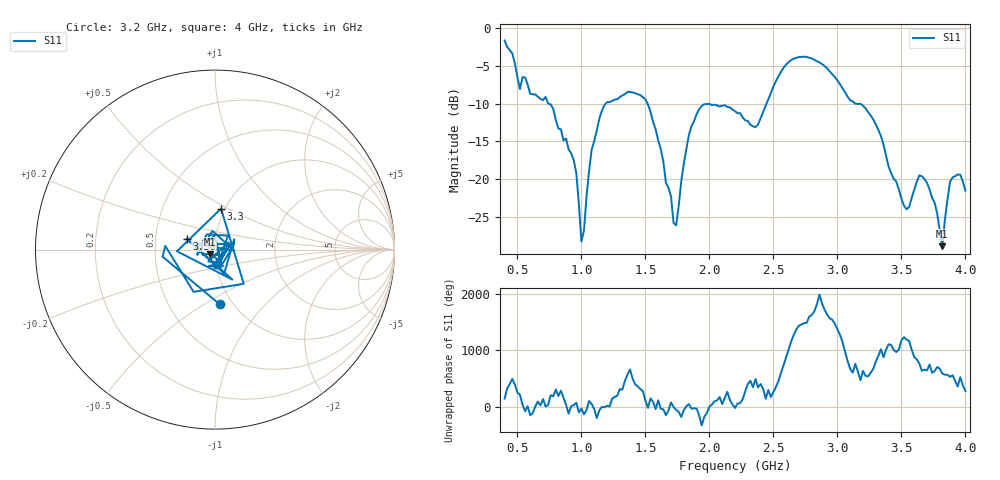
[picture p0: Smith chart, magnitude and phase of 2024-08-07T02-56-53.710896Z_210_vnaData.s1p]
!Created with skrf (http://scikit-rf.org).
# Hz S RI R 50.0
!freq ReS11 ImS11
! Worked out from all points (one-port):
!   181 points, 400 MHz to 4 GHz, reference 50 ohm
!   lowest |S11| = -28.8 dB at 3.82 GHz (marker M1), VSWR 1.08, Z = 47.4 - j2.38 ohm
!   |S11| at or under -10 dB: 743.4 MHz to 1.19 GHz (446.4 MHz wide, 46.2 % of centre); 1.517 GHz to 2.447 GHz (929.8 MHz wide, 46.9 % of centre); 3.143 GHz to end of sweep
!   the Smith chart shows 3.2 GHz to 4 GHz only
!   S11 on the Smith chart (normalised r, x): 3.2 GHz: 0.87, -0.59; 3.3 GHz: 0.96, +0.46; 3.36 GHz: 0.72, +0.09; 4 GHz: 1.01, -0.17
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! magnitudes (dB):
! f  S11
! 400 MHz  -1.7
! 520 MHz  -8.1
! 720 MHz  -9.1
! 860 MHz  -14.9
! 960 MHz  -19.2
! 1 GHz  -28.2
! 1.08 GHz  -16.1
! 1.14 GHz  -12.0
! 1.3 GHz  -9.1
! 1.5 GHz  -9.4
! 1.62 GHz  -16.0
! 1.72 GHz  -25.7
! 1.76 GHz  -23.5
! 1.84 GHz  -14.1
! 1.92 GHz  -10.7
! 2.2 GHz  -11.0
! 2.36 GHz  -13.1
! 2.66 GHz  -4.1
! 2.88 GHz  -4.8
! 3.1 GHz  -9.6
! 3.2 GHz  -10.3
! 3.3 GHz  -12.7
! 3.36 GHz  -15.4
! 3.56 GHz  -23.7
! 3.68 GHz  -19.9
! 3.82 GHz  -28.8
! 3.88 GHz  -20.3
! 4 GHz  -21.5
